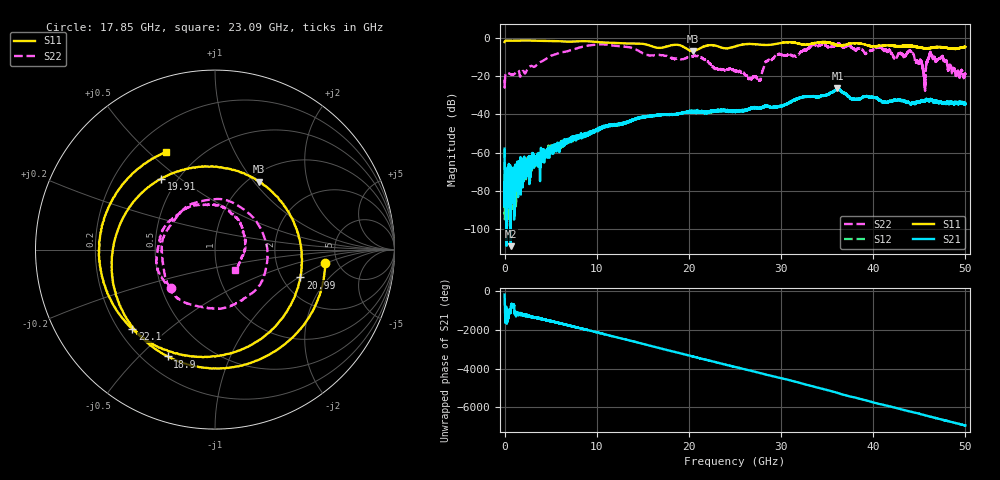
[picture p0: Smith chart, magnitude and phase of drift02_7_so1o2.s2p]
!Created with skrf (http://scikit-rf.org).
# Hz S RI R 50.0
!freq ReS11 ImS11 ReS21 ImS21 ReS12 ImS12 ReS22 ImS22
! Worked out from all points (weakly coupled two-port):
!   10001 points, 300 kHz to 50 GHz, reference 50 ohm
!   highest |S21| = -26.38 dB at 36.12 GHz (marker M1); lowest = -108.8 dB at 665.3 MHz (marker M2)
!   lowest |S11| = -6.9 dB at 20.41 GHz (marker M3), VSWR 2.63, Z = 55.7 + j52.8 ohm
!   |S11| at or under -10 dB: nowhere
!   |S22| runs from -27.7 to -2.8 dB; largest |S21 - S12| = 0.0043
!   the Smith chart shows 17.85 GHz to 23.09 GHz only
!   S11 on the Smith chart (normalised r, x): 17.85 GHz: 3.98, -0.96; 18.9 GHz: 0.29, -0.61; 19.91 GHz: 0.41, +0.43; 20.99 GHz: 2.51, -1.04; 22.1 GHz: 0.25, -0.38; 23.09 GHz: 0.33, +0.57
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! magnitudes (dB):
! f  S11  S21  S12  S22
! 300 kHz  -2.1  -57.9  -58.0  -21.8
! 255.3 MHz  -1.4  -74.5  -74.7  -18.2
! 665.3 MHz  -1.5  -108.8  -71.5  -19.0
! 8.335 GHz  -1.7  -50.8  -50.5  -4.8
! 16.67 GHz  -5.2  -40.5  -40.3  -8.9
! 17.85 GHz  -4.2  -40.2  -40.0  -9.7
! 18.9 GHz  -3.7  -39.8  -39.6  -11.0
! 19.91 GHz  -6.1  -38.6  -38.6  -9.9
! 20.41 GHz  -6.9  -38.6  -38.4  -9.7
! 20.99 GHz  -6.0  -38.1  -38.9  -9.4
! 22.1 GHz  -3.9  -38.7  -38.6  -12.6
! 23.09 GHz  -4.3  -38.0  -38.1  -16.1
! 25 GHz  -4.5  -38.7  -38.0  -17.3
! 27.61 GHz  -3.5  -36.9  -36.6  -22.0
! 28.5 GHz  -3.7  -35.4  -35.7  -12.0
! 33.34 GHz  -3.0  -30.6  -30.6  -3.8
! 36.12 GHz  -3.9  -26.4  -26.9  -3.2
! 41.67 GHz  -4.0  -33.2  -33.4  -6.5
! 44.12 GHz  -4.2  -34.7  -34.4  -7.2
! 45.51 GHz  -5.4  -33.0  -33.2  -18.4
! 46.27 GHz  -5.2  -32.5  -32.3  -9.3
! 50 GHz  -4.7  -34.6  -34.3  -18.8
